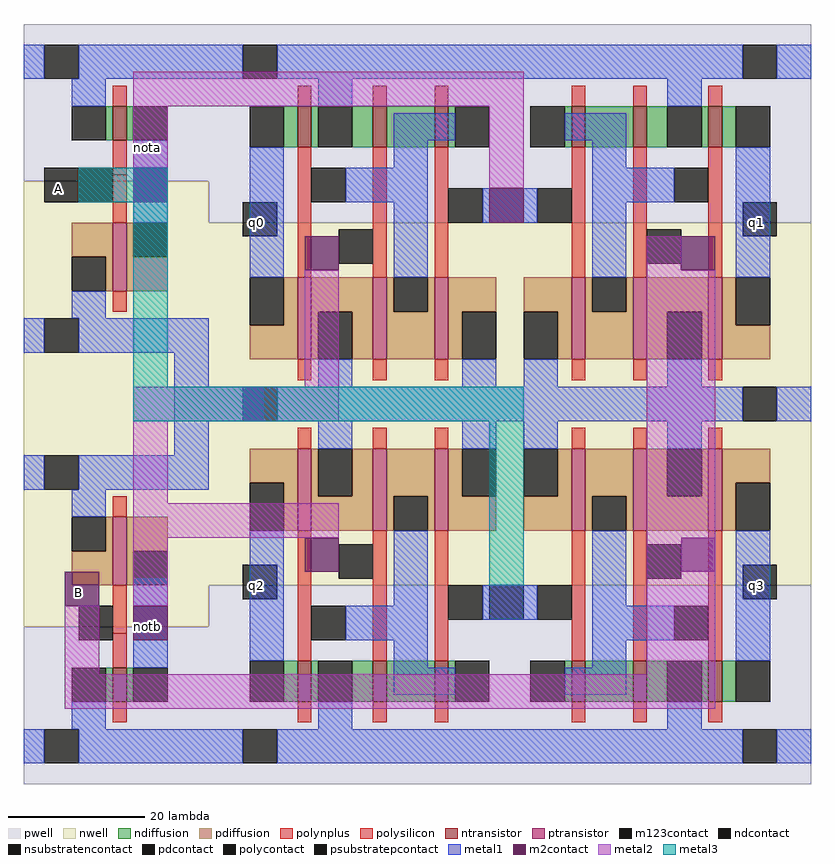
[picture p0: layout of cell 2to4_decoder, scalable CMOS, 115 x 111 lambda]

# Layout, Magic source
magic
tech scmos
<< nwell >>
rect -27 24 0 72
<< metal1 >>
rect -11 90 -6 92
rect -11 82 -6 85
rect -5 58 0 68
rect -5 53 8 58
rect -5 43 0 53
rect -11 26 -6 30
rect -11 20 -6 21
<< m2contact >>
rect -11 85 -6 90
rect 41 82 46 87
rect -21 26 -16 31
rect -11 21 -6 26
<< metal2 >>
rect -11 99 46 104
rect -11 90 -6 99
rect 41 87 46 99
rect 64 75 69 80
rect 14 58 19 75
rect -11 53 19 58
rect -11 41 -6 53
rect -11 36 19 41
rect -21 16 -16 26
rect -11 26 -6 36
rect 64 16 74 75
rect -21 11 74 16
<< m123contact >>
rect -24 85 -19 90
rect 5 80 10 85
rect 78 80 83 85
rect 5 27 10 32
rect 41 24 46 29
rect 78 27 83 32
<< metal3 >>
rect -19 85 -6 90
rect -11 58 -6 85
rect -11 53 46 58
rect 41 29 46 53
use inv  inv_1 ~/Downloads/vlsi-files/final-project
transform 1 0 -19 0 1 9
box -8 -9 19 42
use inv  inv_0
transform 1 0 -19 0 -1 102
box -8 -9 19 42
use and2  and2_3
transform 1 0 12 0 -1 108
box -12 -3 36 58
use and2  and2_2
transform -1 0 76 0 -1 108
box -12 -3 36 58
use and2  and2_1
transform -1 0 76 0 1 3
box -12 -3 36 58
use and2  and2_0
transform 1 0 12 0 1 3
box -12 -3 36 58
<< labels >>
flabel m123contact -22 87 -22 87 3 FreeSans 40 0 0 0 A
flabel m123contact 7 82 7 82 1 FreeSans 40 0 0 0 q0
flabel m123contact 80 82 80 82 1 FreeSans 40 0 0 0 q1
flabel m123contact 7 29 7 29 1 FreeSans 40 0 0 0 q2
flabel m123contact 80 29 80 29 1 FreeSans 40 0 0 0 q3
flabel m2contact -19 28 -19 28 1 FreeSans 40 0 0 0 B
flabel m2contact -9 23 -9 23 1 FreeSans 16 0 0 0 notb
flabel metal2 -9 93 -9 93 1 FreeSans 16 0 0 0 nota
<< end >>

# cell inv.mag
magic
tech scmos
<< nwell >>
rect -8 14 19 42
<< pwell >>
rect -8 -9 19 14
<< ntransistor >>
rect 5 3 7 8
<< ptransistor >>
rect 5 20 7 30
<< ndiffusion >>
rect 4 3 5 8
rect 7 3 8 8
<< pdiffusion >>
rect 4 25 5 30
rect -1 20 5 25
rect 7 25 13 30
rect 7 20 8 25
<< ndcontact >>
rect -1 3 4 8
rect 8 3 13 8
<< pdcontact >>
rect -1 25 4 30
rect 8 20 13 25
<< psubstratepcontact >>
rect -5 -6 0 -1
<< nsubstratencontact >>
rect -5 34 0 39
<< polysilicon >>
rect 5 30 7 33
rect 5 13 7 20
rect 5 0 7 3
<< polycontact >>
rect 0 12 5 17
<< polynplus >>
rect 5 8 7 13
<< metal1 >>
rect -8 34 -5 39
rect 0 34 19 39
rect -1 30 4 34
rect 8 8 13 20
rect -1 -1 4 3
rect -8 -6 -5 -1
rect 0 -6 19 -1
<< labels >>
rlabel metal1 9 13 9 13 1 out
rlabel polycontact 2 14 2 14 1 in
rlabel psubstratepcontact -2 -5 -2 -5 1 GND!
rlabel nsubstratencontact -3 37 -3 37 5 Vdd!
<< end >>

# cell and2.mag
magic
tech scmos
<< nwell >>
rect -12 26 36 58
<< pwell >>
rect -12 -3 36 26
<< ntransistor >>
rect 1 9 3 15
rect 12 9 14 15
rect 21 9 23 15
<< ptransistor >>
rect 1 34 3 46
rect 12 34 14 46
rect 21 34 23 46
<< ndiffusion >>
rect -1 9 1 15
rect 3 9 4 15
rect 9 9 12 15
rect 14 9 21 15
rect 23 9 24 15
<< pdiffusion >>
rect -6 41 1 46
rect -1 34 1 41
rect 3 39 4 46
rect 9 39 12 46
rect 3 34 12 39
rect 14 39 21 46
rect 14 34 15 39
rect 20 34 21 39
rect 23 39 25 46
rect 23 34 30 39
<< ndcontact >>
rect -6 9 -1 15
rect 4 9 9 15
rect 24 9 29 15
<< pdcontact >>
rect -6 34 -1 41
rect 4 39 9 46
rect 15 34 20 39
rect 25 39 30 46
<< psubstratepcontact >>
rect -7 0 -2 5
<< nsubstratencontact >>
rect -7 50 -2 55
<< polysilicon >>
rect 1 46 3 49
rect 12 46 14 49
rect 21 46 23 49
rect 1 15 3 34
rect 12 15 14 34
rect 21 15 23 34
rect 1 6 3 9
rect 12 6 14 9
rect 21 6 23 9
<< polycontact >>
rect 7 27 12 32
rect 3 18 8 23
rect 23 21 28 26
<< metal1 >>
rect -12 50 -7 55
rect -2 50 36 55
rect 4 46 9 50
rect 25 46 30 50
rect -6 15 -1 34
rect 15 23 20 34
rect 8 18 20 23
rect 28 21 36 26
rect 15 14 20 18
rect 15 10 24 14
rect 4 5 9 9
rect -12 0 -7 5
rect -2 0 36 5
<< m2contact >>
rect 2 28 7 33
<< labels >>
rlabel metal1 30 22 30 22 7 B
rlabel metal1 6 1 6 1 2 GND!
rlabel metal1 6 53 6 53 4 Vdd!
rlabel metal1 -4 21 -4 21 1 out
rlabel polycontact 9 29 9 29 1 A
<< end >>
